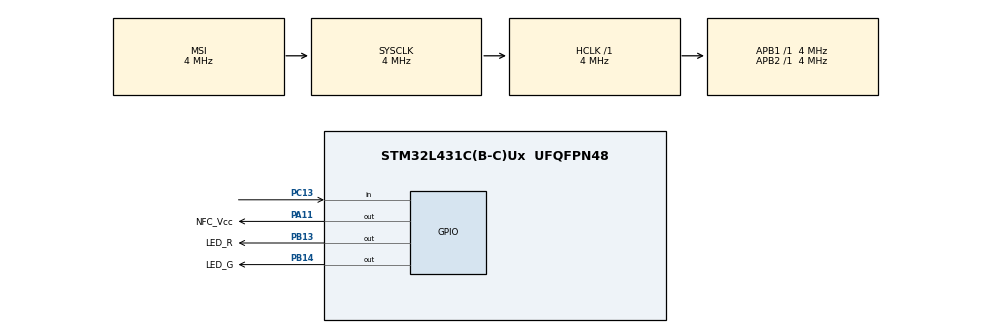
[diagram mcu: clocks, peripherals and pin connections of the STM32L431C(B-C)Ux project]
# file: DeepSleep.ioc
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Mcu.Family=STM32L4
Mcu.Name=STM32L431C(B-C)Ux
Mcu.Package=UFQFPN48
NVIC.PriorityGroup=NVIC_PRIORITYGROUP_4
PA11.GPIO_Label=NFC_Vcc
PA11.Signal=GPIO_Output
PB13.GPIO_Label=LED_R
PB13.Signal=GPIO_Output
PB14.GPIO_Label=LED_G
PB14.Signal=GPIO_Output
PC13.Signal=GPIO_Input
ProjectManager.HeapSize=0x200
ProjectManager.StackSize=0x400
ProjectManager.TargetToolchain=STM32CubeIDE
RCC.ADCFreq_Value=16000000
RCC.AHBFreq_Value=4000000
RCC.APB1Freq_Value=4000000
RCC.APB1TimFreq_Value=4000000
RCC.APB2Freq_Value=4000000
RCC.APB2TimFreq_Value=4000000
RCC.CortexFreq_Value=4000000
RCC.HCLKFreq_Value=4000000
RCC.HSE_VALUE=8000000
RCC.HSI48_VALUE=48000000
RCC.HSI_VALUE=16000000
RCC.LSE_VALUE=32768
RCC.MSI_VALUE=4000000
RCC.SYSCLKFreq_VALUE=4000000
RCC.VCOOutputFreq_Value=32000000
board=custom

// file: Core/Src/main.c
/* USER CODE BEGIN Header */
/**
  ******************************************************************************
  * @file           : main.c
  * @brief          : Main program body
  ******************************************************************************
  * @attention
  *
  * Copyright (c) 2025 STMicroelectronics.
  * All rights reserved.
  *
  * This software is licensed under terms that can be found in the LICENSE file
  * in the root directory of this software component.
  * If no LICENSE file comes with this software, it is provided AS-IS.
  *
  ******************************************************************************
  */
/* USER CODE END Header */
#include "main.h"

/* USER CODE BEGIN PD */
#define NTP_ADDRESS  0xA8
/* USER CODE END PD */

/* USER CODE BEGIN PV */

uint8_t tx_buffer[6] = {0x10, 0x3D, 0b00001101, 0x00, 0x01, 0x00};
uint8_t rx_address[2] = {0x00, 0x02};
uint8_t rx_buffer[4];

/* USER CODE END PV */

void SystemClock_Config(void);
static void MX_GPIO_Init(void);

int main(void)
{

  /* MCU Configuration--------------------------------------------------------*/

  /* Reset of all peripherals, Initializes the Flash interface and the Systick. */
  HAL_Init();

  /* Configure the system clock */
  SystemClock_Config();

  /* USER CODE BEGIN SysInit */
  //SCB->VTOR = FLASH_BASE | 0x00000000U;
  /* USER CODE END SysInit */

  /* Initialize all configured peripherals */
  MX_GPIO_Init();
  /* USER CODE BEGIN 2 */

  //HAL_GPIO_WritePin(LED_R_GPIO_Port, LED_R_Pin, 1);
  HAL_GPIO_WritePin(LED_G_GPIO_Port, LED_G_Pin, 1);

  HAL_GPIO_WritePin(NFC_Vcc_GPIO_Port, NFC_Vcc_Pin, 1);
  HAL_Delay(20);
  /*
  //tx_buffer = {0x00, 0x02, 0xAA, 0xBB, 0xCC, 0xDD};
  HAL_I2C_Master_Transmit(&hi2c1, NTP_ADDRESS, tx_buffer, 6, 2); //HaL_MAX_DELAY
  HAL_Delay(2);// Mer än 1. Oklart varför

  //rx_address = {0x00, 0x02};

  HAL_I2C_Master_Transmit(&hi2c1, NTP_ADDRESS, rx_address, 2, 2);
  HAL_I2C_Master_Receive(&hi2c1, NTP_ADDRESS, rx_buffer, 4, 1);
  HAL_Delay(20);
  */
  HAL_GPIO_WritePin(NFC_Vcc_GPIO_Port, NFC_Vcc_Pin, 0);

 HAL_Delay(5000);

//HAL_GPIO_WritePin(LED_R_GPIO_Port, LED_R_Pin, 0);
 	//Power_Off();
 HAL_SuspendTick();
 HAL_PWREx_EnterSTOP2Mode(PWR_SLEEPENTRY_WFI);
 HAL_ResumeTick();
// HAL_GPIO_WritePin(LED_R_GPIO_Port, LED_R_Pin, 1);

  /* USER CODE END 2 */

  /* Infinite loop */
  while (1)
  {

    /* USER CODE BEGIN 3 */
/*
	  if(HAL_GPIO_ReadPin(ED_GPIO_Port, ED_Pin)){
		  HAL_GPIO_WritePin(LED_R_GPIO_Port, LED_R_Pin, 1);
	  } else {
		  HAL_GPIO_WritePin(LED_R_GPIO_Port, LED_R_Pin, 0);
	  }
	  //*/
	  HAL_GPIO_TogglePin(LED_G_GPIO_Port, LED_G_Pin);
	  HAL_Delay(500);
  }
  /* USER CODE END 3 */
}

void SystemClock_Config(void)
{
  RCC_OscInitTypeDef RCC_OscInitStruct = {0};
  RCC_ClkInitTypeDef RCC_ClkInitStruct = {0};

  /** Configure the main internal regulator output voltage
  */
  if (HAL_PWREx_ControlVoltageScaling(PWR_REGULATOR_VOLTAGE_SCALE1) != HAL_OK)
  {
    Error_Handler();
  }

  /** Initializes the RCC Oscillators according to the specified parameters
  * in the RCC_OscInitTypeDef structure.
  */
  RCC_OscInitStruct.OscillatorType = RCC_OSCILLATORTYPE_MSI;
  RCC_OscInitStruct.MSIState = RCC_MSI_ON;
  RCC_OscInitStruct.MSICalibrationValue = 0;
  RCC_OscInitStruct.MSIClockRange = RCC_MSIRANGE_6;
  RCC_OscInitStruct.PLL.PLLState = RCC_PLL_NONE;
  if (HAL_RCC_OscConfig(&RCC_OscInitStruct) != HAL_OK)
  {
    Error_Handler();
  }

  /** Initializes the CPU, AHB and APB buses clocks
  */
  RCC_ClkInitStruct.ClockType = RCC_CLOCKTYPE_HCLK|RCC_CLOCKTYPE_SYSCLK
                              |RCC_CLOCKTYPE_PCLK1|RCC_CLOCKTYPE_PCLK2;
  RCC_ClkInitStruct.SYSCLKSource = RCC_SYSCLKSOURCE_MSI;
  RCC_ClkInitStruct.AHBCLKDivider = RCC_SYSCLK_DIV1;
  RCC_ClkInitStruct.APB1CLKDivider = RCC_HCLK_DIV1;
  RCC_ClkInitStruct.APB2CLKDivider = RCC_HCLK_DIV1;

  if (HAL_RCC_ClockConfig(&RCC_ClkInitStruct, FLASH_LATENCY_0) != HAL_OK)
  {
    Error_Handler();
  }
}

static void MX_GPIO_Init(void)
{
  GPIO_InitTypeDef GPIO_InitStruct = {0};

  /* GPIO Ports Clock Enable */
  __HAL_RCC_GPIOC_CLK_ENABLE();
  __HAL_RCC_GPIOH_CLK_ENABLE();
  __HAL_RCC_GPIOA_CLK_ENABLE();
  __HAL_RCC_GPIOB_CLK_ENABLE();

  /*Configure GPIO pin Output Level */
  HAL_GPIO_WritePin(GPIOB, LED_R_Pin|LED_G_Pin, GPIO_PIN_RESET);

  /*Configure GPIO pin Output Level */
  HAL_GPIO_WritePin(NFC_Vcc_GPIO_Port, NFC_Vcc_Pin, GPIO_PIN_RESET);

  /*Configure GPIO pin : PC13 */
  GPIO_InitStruct.Pin = GPIO_PIN_13;
  GPIO_InitStruct.Mode = GPIO_MODE_INPUT;
  GPIO_InitStruct.Pull = GPIO_NOPULL;
  HAL_GPIO_Init(GPIOC, &GPIO_InitStruct);

  /*Configure GPIO pins : PC14 PC15 */
  GPIO_InitStruct.Pin = GPIO_PIN_14|GPIO_PIN_15;
  GPIO_InitStruct.Mode = GPIO_MODE_ANALOG;
  GPIO_InitStruct.Pull = GPIO_NOPULL;
  HAL_GPIO_Init(GPIOC, &GPIO_InitStruct);

  /*Configure GPIO pins : PH0 PH1 PH3 */
  GPIO_InitStruct.Pin = GPIO_PIN_0|GPIO_PIN_1|GPIO_PIN_3;
  GPIO_InitStruct.Mode = GPIO_MODE_ANALOG;
  GPIO_InitStruct.Pull = GPIO_NOPULL;
  HAL_GPIO_Init(GPIOH, &GPIO_InitStruct);

  /*Configure GPIO pins : PA0 PA1 PA2 PA3
                           PA4 PA5 PA6 PA7
                           PA8 PA9 PA10 PA12
                           PA13 PA14 PA15 */
  GPIO_InitStruct.Pin = GPIO_PIN_0|GPIO_PIN_1|GPIO_PIN_2|GPIO_PIN_3
                          |GPIO_PIN_4|GPIO_PIN_5|GPIO_PIN_6|GPIO_PIN_7
                          |GPIO_PIN_8|GPIO_PIN_9|GPIO_PIN_10|GPIO_PIN_12
                          |GPIO_PIN_13|GPIO_PIN_14|GPIO_PIN_15;
  GPIO_InitStruct.Mode = GPIO_MODE_ANALOG;
  GPIO_InitStruct.Pull = GPIO_NOPULL;
  HAL_GPIO_Init(GPIOA, &GPIO_InitStruct);

  /*Configure GPIO pins : PB0 PB1 PB2 PB10
                           PB11 PB12 PB15 PB3
                           PB4 PB5 PB6 PB7
                           PB8 PB9 */
  GPIO_InitStruct.Pin = GPIO_PIN_0|GPIO_PIN_1|GPIO_PIN_2|GPIO_PIN_10
                          |GPIO_PIN_11|GPIO_PIN_12|GPIO_PIN_15|GPIO_PIN_3
                          |GPIO_PIN_4|GPIO_PIN_5|GPIO_PIN_6|GPIO_PIN_7
                          |GPIO_PIN_8|GPIO_PIN_9;
  GPIO_InitStruct.Mode = GPIO_MODE_ANALOG;
  GPIO_InitStruct.Pull = GPIO_NOPULL;
  HAL_GPIO_Init(GPIOB, &GPIO_InitStruct);

  /*Configure GPIO pins : LED_R_Pin LED_G_Pin */
  GPIO_InitStruct.Pin = LED_R_Pin|LED_G_Pin;
  GPIO_InitStruct.Mode = GPIO_MODE_OUTPUT_PP;
  GPIO_InitStruct.Pull = GPIO_NOPULL;
  GPIO_InitStruct.Speed = GPIO_SPEED_FREQ_LOW;
  HAL_GPIO_Init(GPIOB, &GPIO_InitStruct);

  /*Configure GPIO pin : NFC_Vcc_Pin */
  GPIO_InitStruct.Pin = NFC_Vcc_Pin;
  GPIO_InitStruct.Mode = GPIO_MODE_OUTPUT_PP;
  GPIO_InitStruct.Pull = GPIO_NOPULL;
  GPIO_InitStruct.Speed = GPIO_SPEED_FREQ_LOW;
  HAL_GPIO_Init(NFC_Vcc_GPIO_Port, &GPIO_InitStruct);

}

/* USER CODE BEGIN 4 */

void HAL_GPIO_EXTI_Callback(uint16_t GPIO_Pin)
{
	SystemClock_Config();
	HAL_GPIO_WritePin(LED_G_GPIO_Port, LED_G_Pin, 0);
//HAL_GPIO_TogglePin(LED_R_GPIO_Port, LED_R_Pin);

 // if(GPIO_Pin == ED_Pin) {
	  //HAL_GPIO_TogglePin(LED_R_GPIO_Port, LED_R_Pin);
  //} else {
      ///__NOP();
  //}
}

/* USER CODE END 4 */

void Error_Handler(void)
{
  __disable_irq();
  while (1)
  {
  }
}
